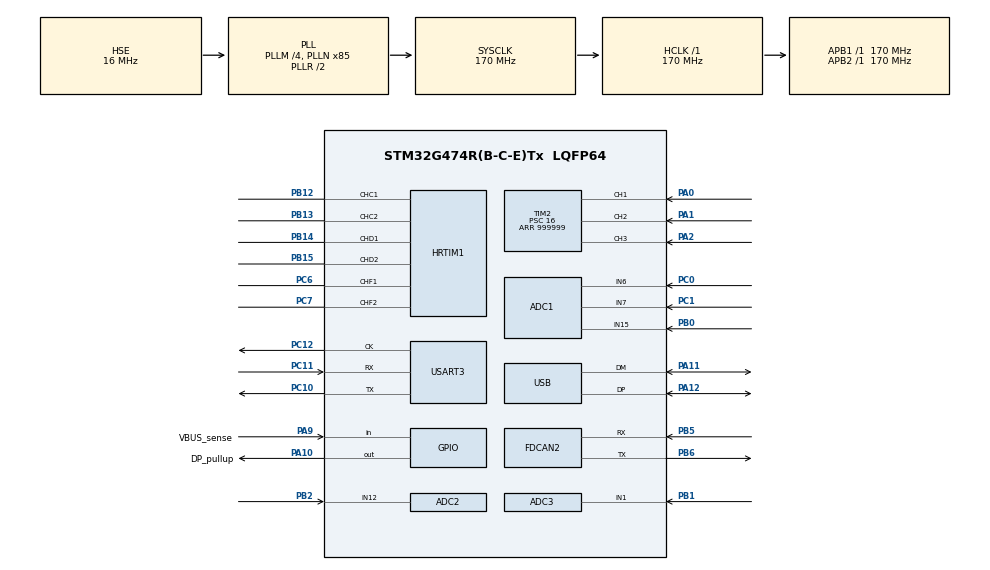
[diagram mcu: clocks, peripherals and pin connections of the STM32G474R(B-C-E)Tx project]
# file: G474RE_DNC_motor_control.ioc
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ADC1.Channel-1\#ChannelRegularConversion=ADC_CHANNEL_6
ADC1.DMAContinuousRequests=DISABLE
ADC1.EnableInjectedConversion=ENABLE
ADC1.EnableInjectedOversampling=ENABLE
ADC1.ExternalTrigConv=ADC_EXTERNALTRIG_HRTIM_TRG1
ADC1.ExternalTrigInjecConv=ADC_EXTERNALTRIGINJEC_HRTIM_TRG2
ADC1.InjNumberOfConversion=1
ADC1.InjOversamplingRatio=ADC_OVERSAMPLING_RATIO_4
ADC1.InjOversamplingRightShift=ADC_RIGHTBITSHIFT_2
ADC1.InjectedChannel-5\#ChannelInjectedConversion=ADC_CHANNEL_15
ADC1.InjectedOffsetNumber-5\#ChannelInjectedConversion=ADC_OFFSET_NONE
ADC1.InjectedRank-5\#ChannelInjectedConversion=1
ADC1.InjectedSamplingTime-5\#ChannelInjectedConversion=ADC_SAMPLETIME_6CYCLES_5
ADC1.NbrOfConversionFlag=1
ADC1.Overrun=ADC_OVR_DATA_OVERWRITTEN
ADC1.OversamplingMode=ENABLE
ADC1.Rank1_Channel=ADC_CHANNEL_15
ADC1.Ratio=ADC_OVERSAMPLING_RATIO_4
ADC1.RightBitShift=ADC_RIGHTBITSHIFT_2
ADC1.SingleDiff-1\#ChannelRegularConversion=ADC_DIFFERENTIAL_ENDED
ADC1.master=1
ADC2.EnableInjectedConversion=ENABLE
ADC2.EnableInjectedOversampling=ENABLE
ADC2.EnableRegularConversion=DISABLE
ADC2.ExternalTrigInjecConv=ADC_EXTERNALTRIGINJEC_HRTIM_TRG2
ADC2.InjNumberOfConversion=1
ADC2.InjOversamplingRatio=ADC_OVERSAMPLING_RATIO_4
ADC2.InjOversamplingRightShift=ADC_RIGHTBITSHIFT_2
ADC2.InjectedChannel-4\#ChannelInjectedConversion=ADC_CHANNEL_12
ADC2.InjectedConvMode=None
ADC2.InjectedOffsetNumber-4\#ChannelInjectedConversion=ADC_OFFSET_NONE
ADC2.InjectedRank-4\#ChannelInjectedConversion=1
ADC2.InjectedSamplingTime-4\#ChannelInjectedConversion=ADC_SAMPLETIME_6CYCLES_5
ADC2.Overrun=ADC_OVR_DATA_OVERWRITTEN
ADC2.Rank1_Channel=ADC_CHANNEL_12
ADC2.injectedQueueMode=DISABLE
ADC3.EnableInjectedConversion=ENABLE
ADC3.EnableInjectedOversampling=ENABLE
ADC3.EnableRegularConversion=DISABLE
ADC3.ExternalTrigInjecConv=ADC_EXTERNALTRIGINJEC_HRTIM_TRG2
ADC3.InjNumberOfConversion=1
ADC3.InjOversamplingRatio=ADC_OVERSAMPLING_RATIO_4
ADC3.InjOversamplingRightShift=ADC_RIGHTBITSHIFT_2
ADC3.InjectedChannel-1\#ChannelInjectedConversion=ADC_CHANNEL_1
ADC3.InjectedOffsetNumber-1\#ChannelInjectedConversion=ADC_OFFSET_NONE
ADC3.InjectedRank-1\#ChannelInjectedConversion=1
ADC3.InjectedSamplingTime-1\#ChannelInjectedConversion=ADC_SAMPLETIME_6CYCLES_5
ADC3.Overrun=ADC_OVR_DATA_OVERWRITTEN
ADC3.Rank1_Channel=ADC_CHANNEL_1
ADC3.master=1
FDCAN2.AutoRetransmission=ENABLE
FDCAN2.CalculateBaudRateNominal=499999
FDCAN2.CalculateTimeBitNominal=2000
FDCAN2.CalculateTimeQuantumNominal=117.64705882352942
FDCAN2.NominalPrescaler=20
FDCAN2.NominalTimeSeg1=13
FDCAN2.NominalTimeSeg2=3
HRTIM1.ADCTrigger1_Source1=HRTIM_ADCTRIGGEREVENT13_TIMERC_PERIOD
HRTIM1.ADCTrigger2_Source1=HRTIM_ADCTRIGGEREVENT24_TIMERC_RESET
HRTIM1.ADCTrigger_Id1=HRTIM_ADCTRIGGER_1
HRTIM1.ADCTrigger_Id2=HRTIM_ADCTRIGGER_2
HRTIM1.Adrom_TC=HRTIM_TIM_ADROM_VALLEY
HRTIM1.Adrom_TD=HRTIM_TIM_ADROM_VALLEY
HRTIM1.Adrom_TF=HRTIM_TIM_ADROM_VALLEY
HRTIM1.CaptureUnit1-Output_TC1TC2=__NULL
HRTIM1.ChopperModeconfig-Output_TF1TF2=__NULL
HRTIM1.CompareUnit1-Output_TC1TC2=HRTIM_COMPAREUNIT_1
HRTIM1.CompareUnit1-Output_TD1TD2=HRTIM_COMPAREUNIT_1
HRTIM1.CompareUnit1-Output_TF1TF2=HRTIM_COMPAREUNIT_1
HRTIM1.CompareUnit2-Output_TC1TC2=__NULL
HRTIM1.CompareUnit2-Output_TF1TF2=__NULL
HRTIM1.CompareUnit3-Output_TF1TF2=__NULL
HRTIM1.CompareValue1-Output_TC1TC2=17000
HRTIM1.CompareValue1-Output_TD1TD2=17000
HRTIM1.CompareValue1-Output_TF1TF2=17000
HRTIM1.DeadTimeInsertion-Output_TC1TC2=HRTIM_TIMDEADTIMEINSERTION_ENABLED
HRTIM1.DeadTimeInsertion-Output_TD1TD2=HRTIM_TIMDEADTIMEINSERTION_ENABLED
HRTIM1.DeadTimeInsertion-Output_TF1TF2=HRTIM_TIMDEADTIMEINSERTION_ENABLED
HRTIM1.Event_EEV1=__NULL
HRTIM1.FallingLock-Output_TF1TF2=HRTIM_TIMDEADTIME_FALLINGLOCK_WRITE
HRTIM1.FallingSignLock-Output_TC1TC2=HRTIM_TIMDEADTIME_FALLINGSIGNLOCK_READONLY
HRTIM1.FallingSignLock-Output_TD1TD2=HRTIM_TIMDEADTIME_FALLINGSIGNLOCK_READONLY
HRTIM1.FallingSignLock-Output_TF1TF2=HRTIM_TIMDEADTIME_FALLINGSIGNLOCK_READONLY
HRTIM1.FallingValue-Output_TC1TC2=500
HRTIM1.FallingValue-Output_TD1TD2=500
HRTIM1.FallingValue-Output_TF1TF2=500
HRTIM1.Fault_Line1=__NULL
HRTIM1.IdleLevel2-Output_TF1TF2=HRTIM_OUTPUTIDLELEVEL_INACTIVE
HRTIM1.NumberADCTriggerSource1=1
HRTIM1.NumberADCTriggerSource2=1
HRTIM1.NumberResetSource1-Output_TF1TF2=0
HRTIM1.NumberSetSource1-Output_TC1TC2=1
HRTIM1.NumberSetSource1-Output_TD1TD2=1
HRTIM1.NumberSetSource1-Output_TF1TF2=1
HRTIM1.ORingUpdateSource_ADCTrigger1=HRTIM_ADCTRIGGERUPDATE_TIMER_C
HRTIM1.ORingUpdateSource_ADCTrigger2=HRTIM_ADCTRIGGERUPDATE_TIMER_C
HRTIM1.Periode_TC=34000
HRTIM1.Periode_TD=34000
HRTIM1.Periode_TF=34000
HRTIM1.Polarity1-Output_TF1TF2=HRTIM_OUTPUTPOLARITY_HIGH
HRTIM1.PreloadEnable-Output_TC1TC2=HRTIM_PRELOAD_ENABLED
HRTIM1.PreloadEnable-Output_TD1TD2=HRTIM_PRELOAD_ENABLED
HRTIM1.PreloadEnable-Output_TF1TF2=HRTIM_PRELOAD_ENABLED
HRTIM1.PrescalerDead-Output_TC1TC2=HRTIM_TIMDEADTIME_PRESCALERRATIO_MUL4
HRTIM1.PrescalerDead-Output_TD1TD2=HRTIM_TIMDEADTIME_PRESCALERRATIO_MUL4
HRTIM1.PrescalerDead-Output_TF1TF2=HRTIM_TIMDEADTIME_PRESCALERRATIO_MUL4
HRTIM1.PrescalerRatio_TC=HRTIM_PRESCALERRATIO_MUL16
HRTIM1.PrescalerRatio_TD=HRTIM_PRESCALERRATIO_MUL16
HRTIM1.PrescalerRatio_TF=HRTIM_PRESCALERRATIO_MUL16
HRTIM1.ResetUpdate-Output_TC1TC2=HRTIM_TIMUPDATEONRESET_ENABLED
HRTIM1.ResetUpdate-Output_TD1TD2=HRTIM_TIMUPDATEONRESET_ENABLED
HRTIM1.ResetUpdate-Output_TF1TF2=HRTIM_TIMUPDATEONRESET_ENABLED
HRTIM1.RisingLock-Output_TF1TF2=HRTIM_TIMDEADTIME_RISINGLOCK_WRITE
HRTIM1.RisingSign-Output_TF1TF2=HRTIM_TIMDEADTIME_RISINGSIGN_POSITIVE
HRTIM1.RisingSignLock-Output_TC1TC2=HRTIM_TIMDEADTIME_RISINGSIGNLOCK_READONLY
HRTIM1.RisingSignLock-Output_TD1TD2=HRTIM_TIMDEADTIME_RISINGSIGNLOCK_READONLY
HRTIM1.RisingSignLock-Output_TF1TF2=HRTIM_TIMDEADTIME_RISINGSIGNLOCK_READONLY
HRTIM1.RisingValue-Output_TC1TC2=500
HRTIM1.RisingValue-Output_TD1TD2=500
HRTIM1.RisingValue-Output_TF1TF2=500
HRTIM1.SetOutput1_Source1-Output_TC1TC2=HRTIM_OUTPUTSET_TIMCMP1
HRTIM1.SetOutput1_Source1-Output_TD1TD2=HRTIM_OUTPUTSET_TIMCMP1
HRTIM1.SetOutput1_Source1-Output_TF1TF2=HRTIM_OUTPUTSET_TIMCMP1
HRTIM1.SwapF=__NULL
HRTIM1.UpDownMode-Output_TC1TC2=HRTIM_TIMERUPDOWNMODE_UPDOWN
HRTIM1.UpDownMode-Output_TD1TD2=HRTIM_TIMERUPDOWNMODE_UPDOWN
HRTIM1.UpDownMode-Output_TF1TF2=HRTIM_TIMERUPDOWNMODE_UPDOWN
HRTIM1.rom_TC=HRTIM_TIM_ROM_VALLEY
HRTIM1.rom_TD=HRTIM_TIM_ROM_VALLEY
HRTIM1.rom_TF=HRTIM_TIM_ROM_VALLEY
Mcu.Family=STM32G4
Mcu.Name=STM32G474R(B-C-E)Tx
Mcu.Package=LQFP64
NVIC.ADC1_2_IRQn=true\:0\:0\:false\:false\:true\:true\:true\:true
NVIC.ADC3_IRQn=true\:0\:0\:false\:false\:true\:true\:true\:true
NVIC.FDCAN2_IT0_IRQn=true\:2\:0\:true\:false\:true\:true\:true\:true
NVIC.PriorityGroup=NVIC_PRIORITYGROUP_4
NVIC.TIM2_IRQn=true\:1\:0\:true\:false\:true\:true\:true\:true
PA0.Signal=S_TIM2_CH1
PA1.Signal=S_TIM2_CH2
PA10.GPIO_Label=DP_pullup
PA10.GPIO_PuPd=GPIO_PULLDOWN
PA10.Signal=GPIO_Output
PA11.Mode=Device
PA11.Signal=USB_DM
PA12.Mode=Device
PA12.Signal=USB_DP
PA13.Mode=Trace_Asynchronous_SW
PA13.Signal=SYS_JTMS-SWDIO
PA14.Mode=Trace_Asynchronous_SW
PA14.Signal=SYS_JTCK-SWCLK
PA2.Signal=S_TIM2_CH3
PA5.Signal=S_TIM2_ETR
PA9.GPIO_Label=VBUS_sense
PA9.GPIO_PuPd=GPIO_NOPULL
PA9.Signal=GPIO_Input
PB0.Mode=IN15-Single-Ended
PB0.Signal=ADC1_IN15
PB1.Mode=IN1-Single-Ended
PB1.Signal=ADC3_IN1
PB12.Mode=Output_TC1TC2
PB12.Signal=HRTIM1_CHC1
PB13.Mode=Output_TC1TC2
PB13.Signal=HRTIM1_CHC2
PB14.Mode=Output_TD1TD2
PB14.Signal=HRTIM1_CHD1
PB15.Mode=Output_TD1TD2
PB15.Signal=HRTIM1_CHD2
PB2.Mode=IN12-Single-Ended
PB2.Signal=ADC2_IN12
PB3.Mode=Trace_Asynchronous_SW
PB3.Signal=SYS_JTDO-SWO
PB5.Mode=FDCAN_Activate
PB5.Signal=FDCAN2_RX
PB6.Mode=FDCAN_Activate
PB6.Signal=FDCAN2_TX
PC0.Mode=IN6-Differential
PC0.Signal=ADC1_IN6
PC1.Mode=IN6-Differential
PC1.Signal=ADC1_IN7
PC10.Mode=Synchronous
PC10.Signal=USART3_TX
PC11.Mode=Synchronous
PC11.Signal=USART3_RX
PC12.Mode=Synchronous
PC12.Signal=USART3_CK
PC6.Mode=Output_TF1TF2
PC6.Signal=HRTIM1_CHF1
PC7.Mode=Output_TF1TF2
PC7.Signal=HRTIM1_CHF2
PF0-OSC_IN.Mode=HSE-External-Oscillator
PF0-OSC_IN.Signal=RCC_OSC_IN
PF1-OSC_OUT.Mode=HSE-External-Oscillator
PF1-OSC_OUT.Signal=RCC_OSC_OUT
ProjectManager.HeapSize=0x200
ProjectManager.StackSize=0x400
ProjectManager.TargetToolchain=STM32CubeIDE
RCC.ADC12Freq_Value=170000000
RCC.ADC345Freq_Value=170000000
RCC.AHBFreq_Value=170000000
RCC.APB1Freq_Value=170000000
RCC.APB1TimFreq_Value=170000000
RCC.APB2Freq_Value=170000000
RCC.APB2TimFreq_Value=170000000
RCC.CK48CLockSelection=RCC_USBCLKSOURCE_HSI48
RCC.CortexFreq_Value=170000000
RCC.EXTERNAL_CLOCK_VALUE=12288000
RCC.HCLKFreq_Value=170000000
RCC.HSE_VALUE=16000000
RCC.HSI48_VALUE=48000000
RCC.HSI_VALUE=16000000
RCC.LSE_VALUE=32768
RCC.PLLM=RCC_PLLM_DIV4
RCC.PLLN=85
RCC.PLLSourceVirtual=RCC_PLLSOURCE_HSE
RCC.SYSCLKFreq_VALUE=170000000
RCC.SYSCLKSource=RCC_SYSCLKSOURCE_PLLCLK
RCC.USBFreq_Value=48000000
RCC.VCOOutputFreq_Value=340000000
SH.S_TIM2_CH1.0=TIM2_CH1,Xored_Inputs_Hall_Sensor_Interface
SH.S_TIM2_CH2.0=TIM2_CH2,Xored_Inputs_Hall_Sensor_Interface
SH.S_TIM2_CH3.0=TIM2_CH3,Xored_Inputs_Hall_Sensor_Interface
SH.S_TIM2_ETR.0=TIM2_ETR
TIM2.Dithering=Disable
TIM2.IC1Filter=3
TIM2.IC1Prescaler=TIM_ICPSC_DIV1
TIM2.PeriodNoDither=999999
TIM2.Prescaler=16
USART3.VirtualMode-Synchronous=VM_SYNC
VP_CORDIC_VS_CORDIC.Mode=CORDIC_Activate
VP_SYS_VS_DBSignals.Mode=DisableDeadBatterySignals
board=custom

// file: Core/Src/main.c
/* USER CODE BEGIN Header */
/**
  ******************************************************************************
  * @file           : main.c
  * @brief          : Main program body
  ******************************************************************************
  * @attention
  *
  * Copyright (c) 2026 STMicroelectronics.
  * All rights reserved.
  *
  * This software is licensed under terms that can be found in the LICENSE file
  * in the root directory of this software component.
  * If no LICENSE file comes with this software, it is provided AS-IS.
  *
  ******************************************************************************
  */
/* USER CODE END Header */
#include "main.h"

/* USER CODE BEGIN Includes */
#include "adc_driver.h"
#include "app.h"
#include "canopen_service.h"
#include "cycle_counter_driver.h"
#include "cordic_driver.h"
#include "current_sensor.h"
#include "drive_debug_command_source.h"
#include "drive_debug_observer.h"
#include "drive_command.h"
#include "drive_parameter_manager.h"
#include "drive_parameters.h"
#include "fault_manager.h"
#include "fdcan_driver.h"
#include "hall_decoder.h"
#include "hall_driver.h"
#include "hall_estimator.h"
#include "motor_config.h"
#include "motor_control.h"
#include "sensorless_config.h"
#include "pwm_driver.h"
#include "voltage_sensor.h"
/* USER CODE END Includes */

/* USER CODE BEGIN PD */

#define APP_FAST_LOOP_FREQUENCY_HZ  40000U
#define APP_FAST_LOOP_DEADLINE_CYCLES  (4250U)
#define APP_PHASE_CURRENT_TRIP_ABS_A  (8.0f)
#define APP_PHASE_CURRENT_CLEAR_ABS_A (1.0f)
#define APP_DC_LINK_OVERVOLTAGE_TRIP_V  (58.0f)
#define APP_DC_LINK_OVERVOLTAGE_CLEAR_V (54.0f)
#define CURRENT_SENSOR_OFFSET_SETTLING_SAMPLE_COUNT  128U
#define CURRENT_SENSOR_OFFSET_AVERAGING_SAMPLE_COUNT 2048U
#define CURRENT_SENSOR_OFFSET_TIMEOUT_MARGIN_MS      50U
#define CURRENT_SENSOR_OFFSET_REQUIRED_SAMPLE_COUNT \
    (CURRENT_SENSOR_OFFSET_SETTLING_SAMPLE_COUNT + \
     CURRENT_SENSOR_OFFSET_AVERAGING_SAMPLE_COUNT)
#define CURRENT_SENSOR_OFFSET_EXPECTED_DURATION_MS \
    (((CURRENT_SENSOR_OFFSET_REQUIRED_SAMPLE_COUNT * 1000U) + \
      APP_FAST_LOOP_FREQUENCY_HZ - 1U) / APP_FAST_LOOP_FREQUENCY_HZ)
#define CURRENT_SENSOR_OFFSET_TIMEOUT_MS \
    (CURRENT_SENSOR_OFFSET_EXPECTED_DURATION_MS + \
     CURRENT_SENSOR_OFFSET_TIMEOUT_MARGIN_MS)
#define ACS725_10AB_GAIN_A_PER_COUNT  ((3.3f / 4096.0f) / 0.132f)
#define APP_SPEED_STOP_OMEGA_M_THRESHOLD_RAD_S       (52.3598785f)
#define APP_SPEED_STOP_DWELL_MS                       (10U)

/* USER CODE END PD */

ADC_HandleTypeDef hadc1;
ADC_HandleTypeDef hadc2;
ADC_HandleTypeDef hadc3;

FDCAN_HandleTypeDef hfdcan2;

HRTIM_HandleTypeDef hhrtim1;

TIM_HandleTypeDef htim2;

USART_HandleTypeDef husart3;

PCD_HandleTypeDef hpcd_USB_FS;

/* USER CODE BEGIN PV */
static pwm_driver_t pwm_driver;
static adc_driver_t adc_driver;
static current_sensor_t current_sensor;
static voltage_sensor_t voltage_sensor;
static hall_driver_t hall_driver;
static hall_decoder_t hall_decoder;
static hall_estimator_t hall_estimator;
static eemf_observer_t sensorless_observer;
static pll_t sensorless_pll;
static motor_control_t motor_control;
static fault_manager_t fault_manager;
static fdcan_driver_t fdcan_driver;
static app_t app;
static canopen_service_t canopen_service;
static drive_command_router_t canopen_drive_command_router;
static drive_parameter_manager_t drive_parameter_manager;
static motor_control_config_t motor_control_config;
static float fast_loop_sampling_period_s;

#if APP_FAST_LOOP_DETAILED_PROFILING_ENABLED
static app_fast_loop_profile_t app_fast_loop_profile;
#endif

#if defined(DEBUG)
volatile uint32_t adc_irq_total_cycles;
volatile uint32_t adc_irq_total_cycles_max;
volatile uint32_t adc_irq_deadline_miss_count;
static uint32_t adc_irq_start_cycles;
#endif

static uint32_t canopen_service_last_tick_ms;

/* ADC3 IRQ에서 완성한 세 ADC 묶음을 한 번만 fast loop에 전달한다. */
static bool adc_fast_loop_pending;

/* USER CODE END PV */

void SystemClock_Config(void);
static void MX_GPIO_Init(void);
static void MX_ADC1_Init(void);
static void MX_ADC2_Init(void);
static void MX_ADC3_Init(void);
static void MX_FDCAN2_Init(void);
static void MX_HRTIM1_Init(void);
static void MX_TIM2_Init(void);
static void MX_USART3_Init(void);
static void MX_USB_PCD_Init(void);
static void MX_CORDIC_Init(void);

/* USER CODE BEGIN 0 */
static bool main_apply_drive_parameters(
    void *context,
    const drive_parameters_t *parameters
)
{
  motor_control_config_t next_config;

  (void)context;
  if (!drive_parameters_build_motor_control_config(
          parameters,
          fast_loop_sampling_period_s,
          0.001f,
          &next_config)) {
      return false;
  }

  /* READY/PWM-off main context에서만 호출된다. ADC ISR과 instance write가 겹치지 않게 한다. */
  const motor_control_status_t status = motor_control_init(
      &motor_control,
      &next_config
  );
  if (status != MOTOR_CONTROL_STATUS_OK) {
      return false;
  }

  motor_control_config = next_config;
  if (canopen_service.is_initialized) {
      canopen_service.motor_profile.pole_pairs = parameters->pole_pairs;
      canopen_service.motor_profile.permanent_magnet_flux_linkage_wb =
          parameters->permanent_magnet_flux_linkage_wb;
      canopen_service.motor_profile.torque_reference_current_peak_a =
          parameters->canopen_torque_reference_current_peak_a;
      canopen_service.motor_profile.maximum_mechanical_speed_rad_s =
          parameters->speed_reference_max_rad_s;
  }
  return true;
}
static bool main_drive_parameter_update_is_pending(void)
{
    return (drive_parameter_debug.apply_request !=
            drive_parameter_manager.handled_apply_request) ||
           (drive_parameter_debug.save_request !=
            drive_parameter_manager.handled_save_request) ||
           (drive_parameter_debug.erase_request !=
            drive_parameter_manager.handled_erase_request);
}

static bool main_stop_sampling_for_drive_parameter_update(void)
{
    if (pwm_driver_stop_counter(&pwm_driver) != PWM_DRIVER_STATUS_OK) {
        return false;
    }

    /* Counter 정지 뒤에는 새 ADC trigger가 발생하지 않는다. */
    adc_fast_loop_pending = false;
    return adc_driver_stop(&adc_driver) == ADC_DRIVER_STATUS_OK;
}

static bool main_restart_sampling_after_drive_parameter_update(void)
{
    if (adc_driver_start(&adc_driver) != ADC_DRIVER_STATUS_OK) {
        return false;
    }

    return pwm_driver_start_counter(&pwm_driver) == PWM_DRIVER_STATUS_OK;
}

static void main_process_drive_parameters(void)
{
    const bool is_safe_state = (app.drive_state == APP_DRIVE_STATE_READY) &&
                               !pwm_driver.is_enabled;
    const bool needs_maintenance_window = is_safe_state &&
        main_drive_parameter_update_is_pending();

    if (!needs_maintenance_window) {
        drive_parameter_manager_process(
            &drive_parameter_manager,
            is_safe_state,
            main_apply_drive_parameters,
            NULL
        );
        return;
    }

    if (!main_stop_sampling_for_drive_parameter_update()) {
        Error_Handler();
        return;
    }

    drive_parameter_manager_process(
        &drive_parameter_manager,
        true,
        main_apply_drive_parameters,
        NULL
    );

    if (!main_restart_sampling_after_drive_parameter_update()) {
        Error_Handler();
        return;
    }
}
/* USER CODE END 0 */

int main(void)
{

  /* MCU Configuration--------------------------------------------------------*/

  /* Reset of all peripherals, Initializes the Flash interface and the Systick. */
  HAL_Init();

  /* Configure the system clock */
  SystemClock_Config();

  /* Initialize all configured peripherals */
  MX_GPIO_Init();
  MX_ADC1_Init();
  MX_ADC2_Init();
  MX_ADC3_Init();
  MX_FDCAN2_Init();
  MX_HRTIM1_Init();
  MX_TIM2_Init();
  MX_USART3_Init();
  MX_USB_PCD_Init();
  MX_CORDIC_Init();
  /* USER CODE BEGIN 2 */
  if (cordic_driver_init() != CORDIC_DRIVER_STATUS_OK) {
      Error_Handler();
  }

#if defined(DEBUG)
  if (!cycle_counter_driver_init()) {
      Error_Handler();
  }
#endif

  const fdcan_driver_config_t fdcan_config = {
      .hfdcan = &hfdcan2,
      .receive_callback = NULL,
      .receive_context = NULL,
  };
  if (fdcan_driver_init(&fdcan_driver, &fdcan_config) !=
      FDCAN_DRIVER_STATUS_OK) {
      Error_Handler();
  }
  if (fdcan_driver_start(&fdcan_driver) != FDCAN_DRIVER_STATUS_OK) {
      Error_Handler();
  }

  const hall_driver_config_t hall_config = {
      .timer = &htim2,

      /* Hall state bit 순서: A/B/C = bit 2/1/0 */
      .hall_a = {
          .port = GPIOA,
          .pin = GPIO_PIN_0,
      },
      .hall_b = {
          .port = GPIOA,
          .pin = GPIO_PIN_1,
      },
      .hall_c = {
          .port = GPIOA,
          .pin = GPIO_PIN_2,
      },

      /* 현재 CubeMX 설정의 APB1 timer kernel clock [Hz] */
      .timer_clock_hz = 170000000U,
  };

  if (hall_driver_init(&hall_driver, &hall_config) != HALL_DRIVER_STATUS_OK) {
      Error_Handler();
  }

  if (hall_decoder_init(
      &hall_decoder,
      &motor_config_hall_profile
  ) != HALL_DECODER_STATUS_OK) {
      Error_Handler();
  }

  if (hall_driver_start(&hall_driver) != HALL_DRIVER_STATUS_OK) {
      Error_Handler();
  }

  if (hall_estimator_init(&hall_estimator) != HALL_ESTIMATOR_STATUS_OK) {
      Error_Handler();
  }

  /* EEMF rollout 3단계: shadow observer/PLL. Hall이 계속 FOC angle의 유일한 owner이며 이 결과는
   * motor-control 입력에 연결하지 않는다 — 진단/비교(drive_debug_snapshot) 전용. */
  if (eemf_observer_init(
      &sensorless_observer,
      &sensorless_config_eemf_observer
  ) != EEMF_OBSERVER_STATUS_OK) {
      Error_Handler();
  }

  if (pll_init(&sensorless_pll, &sensorless_config_pll) != PLL_STATUS_OK) {
      Error_Handler();
  }

  fast_loop_sampling_period_s =
      1.0f / (float)APP_FAST_LOOP_FREQUENCY_HZ;
  drive_parameters_t default_drive_parameters;
  drive_parameters_get_defaults(&default_drive_parameters);
  drive_parameter_manager_init(
      &drive_parameter_manager,
      &default_drive_parameters
  );
  if (!drive_parameters_build_motor_control_config(
          (const drive_parameters_t *)&drive_parameter_debug.active_set,
          fast_loop_sampling_period_s,
          0.001f,
          &motor_control_config)) {
      Error_Handler();
  }

  if (motor_control_init(
      &motor_control,
      &motor_control_config
  ) != MOTOR_CONTROL_STATUS_OK) {
      Error_Handler();
  }

  /* PWM counter가 trigger를 발생시키기 전에 모든 ADC의 보정과 시작을 완료한다. */
  const adc_driver_config_t adc_config = {
      .phase_a = {
          .adc = &hadc2,
          .channel = ADC_CHANNEL_12,
          .injected_rank = ADC_INJECTED_RANK_1,
      },
      .phase_b = {
          .adc = &hadc3,
          .channel = ADC_CHANNEL_1,
          .injected_rank = ADC_INJECTED_RANK_1,
      },
      .phase_c = {
          .adc = &hadc1,
          .channel = ADC_CHANNEL_15,
          .injected_rank = ADC_INJECTED_RANK_1,
      },
      .injected_completion_adc = &hadc3,
      .dc_link = {
          .adc = &hadc1,
          .channel = ADC_CHANNEL_6,
      },
  };

  if (adc_driver_init(&adc_driver, &adc_config) != ADC_DRIVER_STATUS_OK) {
      Error_Handler();
  }

  if (adc_driver_start(&adc_driver) != ADC_DRIVER_STATUS_OK) {
      Error_Handler();
  }

  const current_sensor_config_t current_sensor_config = {
      /* ACS725LLCTR-10AB-T typ. 132 mV/A와 nominal ADC Vref 3.3 V 기준. */
      .gain_a_per_count = {
          .a = ACS725_10AB_GAIN_A_PER_COUNT,
          .b = ACS725_10AB_GAIN_A_PER_COUNT,
          .c = ACS725_10AB_GAIN_A_PER_COUNT,
      },
      .settling_sample_count =
          CURRENT_SENSOR_OFFSET_SETTLING_SAMPLE_COUNT,
      .averaging_sample_count =
          CURRENT_SENSOR_OFFSET_AVERAGING_SAMPLE_COUNT,

      /* Bring-up 중 rail/단선 수준의 비정상만 거르는 넓은 허용 범위. */
      .minimum_offset_counts = 1536.0f,
      .maximum_offset_counts = 2560.0f,
  };

  if (current_sensor_init(
      &current_sensor,
      &current_sensor_config
  ) != CURRENT_SENSOR_STATUS_OK) {
      Error_Handler();
  }

  const voltage_sensor_config_t voltage_sensor_config = {
      .offset_counts = 2048.0f,
      .gain_v_per_count = 0.06448461162677f,
  };

  if (voltage_sensor_init(
      &voltage_sensor,
      &voltage_sensor_config
  ) != VOLTAGE_SENSOR_STATUS_OK) {
      Error_Handler();
  }

  const fault_manager_config_t fault_config = {
      .phase_current_trip_abs_a = APP_PHASE_CURRENT_TRIP_ABS_A,
      .phase_current_clear_abs_a = APP_PHASE_CURRENT_CLEAR_ABS_A,
      .dc_link_overvoltage_trip_v = APP_DC_LINK_OVERVOLTAGE_TRIP_V,
      .dc_link_overvoltage_clear_v = APP_DC_LINK_OVERVOLTAGE_CLEAR_V,
  };

  if (fault_manager_init(
      &fault_manager,
      &fault_config
  ) != FAULT_MANAGER_STATUS_OK) {
      Error_Handler();
  }

  /* PWM counter가 시작되기 전에 App의 ADC/PWM 연결과 안전한 0 V command를 준비한다. */
  const app_config_t app_config = {
      .adc_driver = &adc_driver,
      .current_sensor = &current_sensor,
      .voltage_sensor = &voltage_sensor,
      .pwm_driver = &pwm_driver,
      .fault_manager = &fault_manager,
      .hall_driver = &hall_driver,
      .hall_decoder = &hall_decoder,
      .hall_estimator = &hall_estimator,
      .sensorless_observer = &sensorless_observer,
      .sensorless_pll = &sensorless_pll,
      .motor_control = &motor_control,
#if APP_FAST_LOOP_DETAILED_PROFILING_ENABLED
      .fast_loop_profile = &app_fast_loop_profile,
#else
      .fast_loop_profile = NULL,
#endif
      .motor_control_profile = NULL,
#if defined(DEBUG)
      .cycle_counter_reader = cycle_counter_driver_read,
#else
      .cycle_counter_reader = NULL,
#endif
      .sampling_period_s = fast_loop_sampling_period_s,
      .speed_loop_period_s = 0.001f,
      .current_offset_calibration_timeout_ms =
          CURRENT_SENSOR_OFFSET_TIMEOUT_MS,
      .speed_stop_omega_m_threshold_rad_s =
          APP_SPEED_STOP_OMEGA_M_THRESHOLD_RAD_S,
      .speed_stop_dwell_ms = APP_SPEED_STOP_DWELL_MS,
      .initial_voltage_angle_rad = 0.0f,
  };

  if (app_init(&app, &app_config) != APP_STATUS_OK) {
      Error_Handler();
  }

#if APP_FAST_LOOP_DEBUG_SNAPSHOT_ENABLED
  if (!drive_debug_observer_init(APP_FAST_LOOP_FREQUENCY_HZ, 1000U)) {
      Error_Handler();
  }
#endif

  drive_debug_command_source_init();

  /* PWM output은 끈 채 ADC fast loop가 무전류 offset을 수집하게 한다. */
  if (app_drive_start(&app) != APP_STATUS_OK) {
      Error_Handler();
  }

  /* PWM 초기화 */
  const pwm_driver_config_t pwm_config = {
        .hrtim = &hhrtim1,

        .phase_a = {
            .timer_index = HRTIM_TIMERINDEX_TIMER_F,
            .compare_unit = HRTIM_COMPAREUNIT_1,
        },
        .phase_b = {
            .timer_index = HRTIM_TIMERINDEX_TIMER_D,
            .compare_unit = HRTIM_COMPAREUNIT_1,
        },
        .phase_c = {
            .timer_index = HRTIM_TIMERINDEX_TIMER_C,
            .compare_unit = HRTIM_COMPAREUNIT_1,
        },
  };
  if (pwm_driver_init(&pwm_driver, &pwm_config) != PWM_DRIVER_STATUS_OK) {
        Error_Handler();
    }

  drive_command_router_init(&canopen_drive_command_router);
  const canopen_service_motor_profile_t canopen_motor_profile = {
      .pole_pairs = motor_control_config.pole_pairs,
      .permanent_magnet_flux_linkage_wb =
          motor_control_config.foc.permanent_magnet_flux_linkage_wb,
      .torque_reference_current_peak_a =
          drive_parameter_debug.active_set.canopen_torque_reference_current_peak_a,
      .maximum_mechanical_speed_rad_s =
          motor_control_config.speed_reference_max_rad_s,
  };
  const canopen_service_config_t canopen_config = {
      .fdcan_driver = &fdcan_driver,
      .app = &app,
      .drive_command_router = &canopen_drive_command_router,
      .fault_manager = &fault_manager,
      .node_id = 1U,
      .bit_rate_kbit_s = 500U,
  };
  if (canopen_service_init(
      &canopen_service,
      &canopen_config,
      &canopen_motor_profile
  ) != CANOPEN_SERVICE_STATUS_OK) {
      Error_Handler();
  }
  canopen_service_last_tick_ms = HAL_GetTick();

    /* calibration 완료와 PWM enable/disable은 이후 main-context 상태기계가 처리한다. */

  /* USER CODE END 2 */

  /* Infinite loop */
  /* USER CODE BEGIN WHILE */
  while (1)
  {
      (void)app_drive_update(&app);

      main_process_drive_parameters();

      drive_debug_command_source_update(&app);

      const uint32_t canopen_tick_ms = HAL_GetTick();
      const uint32_t canopen_elapsed_ms =
          canopen_tick_ms - canopen_service_last_tick_ms;
      if (canopen_elapsed_ms != 0U) {
          app_speed_feedback_t speed_feedback = {0};

          canopen_service_last_tick_ms = canopen_tick_ms;
          (void)app_get_speed_feedback_snapshot(&app, &speed_feedback);
          (void)canopen_service_process(
              &canopen_service,
              canopen_elapsed_ms * 1000U,
              0.0f,
              false,
              speed_feedback.omega_e_rad_s,
              speed_feedback.has_valid_speed
          );
      }

      HAL_Delay(1U);
    /* USER CODE END WHILE */

  }
}

void SystemClock_Config(void)
{
  RCC_OscInitTypeDef RCC_OscInitStruct = {0};
  RCC_ClkInitTypeDef RCC_ClkInitStruct = {0};

  /** Configure the main internal regulator output voltage
  */
  HAL_PWREx_ControlVoltageScaling(PWR_REGULATOR_VOLTAGE_SCALE1_BOOST);

  /** Initializes the RCC Oscillators according to the specified parameters
  * in the RCC_OscInitTypeDef structure.
  */
  RCC_OscInitStruct.OscillatorType = RCC_OSCILLATORTYPE_HSI48|RCC_OSCILLATORTYPE_HSE;
  RCC_OscInitStruct.HSEState = RCC_HSE_ON;
  RCC_OscInitStruct.HSI48State = RCC_HSI48_ON;
  RCC_OscInitStruct.PLL.PLLState = RCC_PLL_ON;
  RCC_OscInitStruct.PLL.PLLSource = RCC_PLLSOURCE_HSE;
  RCC_OscInitStruct.PLL.PLLM = RCC_PLLM_DIV4;
  RCC_OscInitStruct.PLL.PLLN = 85;
  RCC_OscInitStruct.PLL.PLLP = RCC_PLLP_DIV2;
  RCC_OscInitStruct.PLL.PLLQ = RCC_PLLQ_DIV2;
  RCC_OscInitStruct.PLL.PLLR = RCC_PLLR_DIV2;
  if (HAL_RCC_OscConfig(&RCC_OscInitStruct) != HAL_OK)
  {
    Error_Handler();
  }

  /** Initializes the CPU, AHB and APB buses clocks
  */
  RCC_ClkInitStruct.ClockType = RCC_CLOCKTYPE_HCLK|RCC_CLOCKTYPE_SYSCLK
                              |RCC_CLOCKTYPE_PCLK1|RCC_CLOCKTYPE_PCLK2;
  RCC_ClkInitStruct.SYSCLKSource = RCC_SYSCLKSOURCE_PLLCLK;
  RCC_ClkInitStruct.AHBCLKDivider = RCC_SYSCLK_DIV1;
  RCC_ClkInitStruct.APB1CLKDivider = RCC_HCLK_DIV1;
  RCC_ClkInitStruct.APB2CLKDivider = RCC_HCLK_DIV1;

  if (HAL_RCC_ClockConfig(&RCC_ClkInitStruct, FLASH_LATENCY_4) != HAL_OK)
  {
    Error_Handler();
  }
}

static void MX_ADC1_Init(void)
{

  ADC_MultiModeTypeDef multimode = {0};
  ADC_ChannelConfTypeDef sConfig = {0};
  ADC_InjectionConfTypeDef sConfigInjected = {0};

  /** Common config
  */
  hadc1.Instance = ADC1;
  hadc1.Init.ClockPrescaler = ADC_CLOCK_SYNC_PCLK_DIV4;
  hadc1.Init.Resolution = ADC_RESOLUTION_12B;
  hadc1.Init.DataAlign = ADC_DATAALIGN_RIGHT;
  hadc1.Init.GainCompensation = 0;
  hadc1.Init.ScanConvMode = ADC_SCAN_DISABLE;
  hadc1.Init.EOCSelection = ADC_EOC_SINGLE_CONV;
  hadc1.Init.LowPowerAutoWait = DISABLE;
  hadc1.Init.ContinuousConvMode = DISABLE;
  hadc1.Init.NbrOfConversion = 1;
  hadc1.Init.DiscontinuousConvMode = DISABLE;
  hadc1.Init.ExternalTrigConv = ADC_EXTERNALTRIG_HRTIM_TRG1;
  hadc1.Init.ExternalTrigConvEdge = ADC_EXTERNALTRIGCONVEDGE_RISING;
  hadc1.Init.DMAContinuousRequests = DISABLE;
  hadc1.Init.Overrun = ADC_OVR_DATA_OVERWRITTEN;
  hadc1.Init.OversamplingMode = ENABLE;
  hadc1.Init.Oversampling.Ratio = ADC_OVERSAMPLING_RATIO_4;
  hadc1.Init.Oversampling.RightBitShift = ADC_RIGHTBITSHIFT_2;
  hadc1.Init.Oversampling.TriggeredMode = ADC_TRIGGEREDMODE_SINGLE_TRIGGER;
  hadc1.Init.Oversampling.OversamplingStopReset = ADC_REGOVERSAMPLING_RESUMED_MODE;
  if (HAL_ADC_Init(&hadc1) != HAL_OK)
  {
    Error_Handler();
  }

  /** Configure the ADC multi-mode
  */
  multimode.Mode = ADC_MODE_INDEPENDENT;
  if (HAL_ADCEx_MultiModeConfigChannel(&hadc1, &multimode) != HAL_OK)
  {
    Error_Handler();
  }

  /** Configure Regular Channel
  */
  sConfig.Channel = ADC_CHANNEL_6;
  sConfig.Rank = ADC_REGULAR_RANK_1;
  sConfig.SamplingTime = ADC_SAMPLETIME_2CYCLES_5;
  sConfig.SingleDiff = ADC_DIFFERENTIAL_ENDED;
  sConfig.OffsetNumber = ADC_OFFSET_NONE;
  sConfig.Offset = 0;
  if (HAL_ADC_ConfigChannel(&hadc1, &sConfig) != HAL_OK)
  {
    Error_Handler();
  }

  /** Configure Injected Channel
  */
  sConfigInjected.InjectedChannel = ADC_CHANNEL_15;
  sConfigInjected.InjectedRank = ADC_INJECTED_RANK_1;
  sConfigInjected.InjectedSamplingTime = ADC_SAMPLETIME_6CYCLES_5;
  sConfigInjected.InjectedSingleDiff = ADC_SINGLE_ENDED;
  sConfigInjected.InjectedOffsetNumber = ADC_OFFSET_NONE;
  sConfigInjected.InjectedOffset = 0;
  sConfigInjected.InjectedNbrOfConversion = 1;
  sConfigInjected.InjectedDiscontinuousConvMode = DISABLE;
  sConfigInjected.AutoInjectedConv = DISABLE;
  sConfigInjected.QueueInjectedContext = DISABLE;
  sConfigInjected.ExternalTrigInjecConv = ADC_EXTERNALTRIGINJEC_HRTIM_TRG2;
  sConfigInjected.ExternalTrigInjecConvEdge = ADC_EXTERNALTRIGINJECCONV_EDGE_RISING;
  sConfigInjected.InjecOversamplingMode = ENABLE;
  sConfigInjected.InjecOversampling.Ratio = ADC_OVERSAMPLING_RATIO_4;
  sConfigInjected.InjecOversampling.RightBitShift = ADC_RIGHTBITSHIFT_2;
  if (HAL_ADCEx_InjectedConfigChannel(&hadc1, &sConfigInjected) != HAL_OK)
  {
    Error_Handler();
  }

}

static void MX_ADC2_Init(void)
{

  ADC_InjectionConfTypeDef sConfigInjected = {0};

  /** Common config
  */
  hadc2.Instance = ADC2;
  hadc2.Init.ClockPrescaler = ADC_CLOCK_SYNC_PCLK_DIV4;
  hadc2.Init.Resolution = ADC_RESOLUTION_12B;
  hadc2.Init.DataAlign = ADC_DATAALIGN_RIGHT;
  hadc2.Init.GainCompensation = 0;
  hadc2.Init.ScanConvMode = ADC_SCAN_DISABLE;
  hadc2.Init.EOCSelection = ADC_EOC_SINGLE_CONV;
  hadc2.Init.LowPowerAutoWait = DISABLE;
  hadc2.Init.ContinuousConvMode = DISABLE;
  hadc2.Init.NbrOfConversion = 1;
  hadc2.Init.DiscontinuousConvMode = DISABLE;
  hadc2.Init.DMAContinuousRequests = DISABLE;
  hadc2.Init.Overrun = ADC_OVR_DATA_OVERWRITTEN;
  hadc2.Init.OversamplingMode = DISABLE;
  if (HAL_ADC_Init(&hadc2) != HAL_OK)
  {
    Error_Handler();
  }

  /** Configure Injected Channel
  */
  sConfigInjected.InjectedChannel = ADC_CHANNEL_12;
  sConfigInjected.InjectedRank = ADC_INJECTED_RANK_1;
  sConfigInjected.InjectedSamplingTime = ADC_SAMPLETIME_6CYCLES_5;
  sConfigInjected.InjectedSingleDiff = ADC_SINGLE_ENDED;
  sConfigInjected.InjectedOffsetNumber = ADC_OFFSET_NONE;
  sConfigInjected.InjectedOffset = 0;
  sConfigInjected.InjectedNbrOfConversion = 1;
  sConfigInjected.InjectedDiscontinuousConvMode = DISABLE;
  sConfigInjected.AutoInjectedConv = DISABLE;
  sConfigInjected.QueueInjectedContext = DISABLE;
  sConfigInjected.ExternalTrigInjecConv = ADC_EXTERNALTRIGINJEC_HRTIM_TRG2;
  sConfigInjected.ExternalTrigInjecConvEdge = ADC_EXTERNALTRIGINJECCONV_EDGE_RISING;
  sConfigInjected.InjecOversamplingMode = ENABLE;
  sConfigInjected.InjecOversampling.Ratio = ADC_OVERSAMPLING_RATIO_4;
  sConfigInjected.InjecOversampling.RightBitShift = ADC_RIGHTBITSHIFT_2;
  if (HAL_ADCEx_InjectedConfigChannel(&hadc2, &sConfigInjected) != HAL_OK)
  {
    Error_Handler();
  }

}

static void MX_ADC3_Init(void)
{

  ADC_MultiModeTypeDef multimode = {0};
  ADC_InjectionConfTypeDef sConfigInjected = {0};

  /** Common config
  */
  hadc3.Instance = ADC3;
  hadc3.Init.ClockPrescaler = ADC_CLOCK_SYNC_PCLK_DIV4;
  hadc3.Init.Resolution = ADC_RESOLUTION_12B;
  hadc3.Init.DataAlign = ADC_DATAALIGN_RIGHT;
  hadc3.Init.GainCompensation = 0;
  hadc3.Init.ScanConvMode = ADC_SCAN_DISABLE;
  hadc3.Init.EOCSelection = ADC_EOC_SINGLE_CONV;
  hadc3.Init.LowPowerAutoWait = DISABLE;
  hadc3.Init.ContinuousConvMode = DISABLE;
  hadc3.Init.NbrOfConversion = 1;
  hadc3.Init.DiscontinuousConvMode = DISABLE;
  hadc3.Init.DMAContinuousRequests = DISABLE;
  hadc3.Init.Overrun = ADC_OVR_DATA_OVERWRITTEN;
  hadc3.Init.OversamplingMode = DISABLE;
  if (HAL_ADC_Init(&hadc3) != HAL_OK)
  {
    Error_Handler();
  }

  /** Configure the ADC multi-mode
  */
  multimode.Mode = ADC_MODE_INDEPENDENT;
  if (HAL_ADCEx_MultiModeConfigChannel(&hadc3, &multimode) != HAL_OK)
  {
    Error_Handler();
  }

  /** Configure Injected Channel
  */
  sConfigInjected.InjectedChannel = ADC_CHANNEL_1;
  sConfigInjected.InjectedRank = ADC_INJECTED_RANK_1;
  sConfigInjected.InjectedSamplingTime = ADC_SAMPLETIME_6CYCLES_5;
  sConfigInjected.InjectedSingleDiff = ADC_SINGLE_ENDED;
  sConfigInjected.InjectedOffsetNumber = ADC_OFFSET_NONE;
  sConfigInjected.InjectedOffset = 0;
  sConfigInjected.InjectedNbrOfConversion = 1;
  sConfigInjected.InjectedDiscontinuousConvMode = DISABLE;
  sConfigInjected.AutoInjectedConv = DISABLE;
  sConfigInjected.QueueInjectedContext = DISABLE;
  sConfigInjected.ExternalTrigInjecConv = ADC_EXTERNALTRIGINJEC_HRTIM_TRG2;
  sConfigInjected.ExternalTrigInjecConvEdge = ADC_EXTERNALTRIGINJECCONV_EDGE_RISING;
  sConfigInjected.InjecOversamplingMode = ENABLE;
  sConfigInjected.InjecOversampling.Ratio = ADC_OVERSAMPLING_RATIO_4;
  sConfigInjected.InjecOversampling.RightBitShift = ADC_RIGHTBITSHIFT_2;
  if (HAL_ADCEx_InjectedConfigChannel(&hadc3, &sConfigInjected) != HAL_OK)
  {
    Error_Handler();
  }

}

static void MX_CORDIC_Init(void)
{

  /* Peripheral clock enable */
  LL_AHB1_GRP1_EnableClock(LL_AHB1_GRP1_PERIPH_CORDIC);

  /* nothing else to be configured */

}

static void MX_FDCAN2_Init(void)
{

  hfdcan2.Instance = FDCAN2;
  hfdcan2.Init.ClockDivider = FDCAN_CLOCK_DIV1;
  hfdcan2.Init.FrameFormat = FDCAN_FRAME_CLASSIC;
  hfdcan2.Init.Mode = FDCAN_MODE_NORMAL;
  hfdcan2.Init.AutoRetransmission = ENABLE;
  hfdcan2.Init.TransmitPause = DISABLE;
  hfdcan2.Init.ProtocolException = DISABLE;
  hfdcan2.Init.NominalPrescaler = 20;
  hfdcan2.Init.NominalSyncJumpWidth = 1;
  hfdcan2.Init.NominalTimeSeg1 = 13;
  hfdcan2.Init.NominalTimeSeg2 = 3;
  hfdcan2.Init.DataPrescaler = 1;
  hfdcan2.Init.DataSyncJumpWidth = 1;
  hfdcan2.Init.DataTimeSeg1 = 1;
  hfdcan2.Init.DataTimeSeg2 = 1;
  hfdcan2.Init.StdFiltersNbr = 0;
  hfdcan2.Init.ExtFiltersNbr = 0;
  hfdcan2.Init.TxFifoQueueMode = FDCAN_TX_FIFO_OPERATION;
  if (HAL_FDCAN_Init(&hfdcan2) != HAL_OK)
  {
    Error_Handler();
  }

}

static void MX_HRTIM1_Init(void)
{

  HRTIM_ADCTriggerCfgTypeDef pADCTriggerCfg = {0};
  HRTIM_TimeBaseCfgTypeDef pTimeBaseCfg = {0};
  HRTIM_TimerCtlTypeDef pTimerCtl = {0};
  HRTIM_TimerCfgTypeDef pTimerCfg = {0};
  HRTIM_CompareCfgTypeDef pCompareCfg = {0};
  HRTIM_DeadTimeCfgTypeDef pDeadTimeCfg = {0};
  HRTIM_OutputCfgTypeDef pOutputCfg = {0};

  hhrtim1.Instance = HRTIM1;
  hhrtim1.Init.HRTIMInterruptResquests = HRTIM_IT_NONE;
  hhrtim1.Init.SyncOptions = HRTIM_SYNCOPTION_NONE;
  if (HAL_HRTIM_Init(&hhrtim1) != HAL_OK)
  {
    Error_Handler();
  }
  if (HAL_HRTIM_DLLCalibrationStart(&hhrtim1, HRTIM_CALIBRATIONRATE_3) != HAL_OK)
  {
    Error_Handler();
  }
  if (HAL_HRTIM_PollForDLLCalibration(&hhrtim1, 10) != HAL_OK)
  {
    Error_Handler();
  }
  pADCTriggerCfg.UpdateSource = HRTIM_ADCTRIGGERUPDATE_TIMER_C;
  pADCTriggerCfg.Trigger = HRTIM_ADCTRIGGEREVENT13_TIMERC_PERIOD;
  if (HAL_HRTIM_ADCTriggerConfig(&hhrtim1, HRTIM_ADCTRIGGER_1, &pADCTriggerCfg) != HAL_OK)
  {
    Error_Handler();
  }
  if (HAL_HRTIM_ADCPostScalerConfig(&hhrtim1, HRTIM_ADCTRIGGER_1, 0x0) != HAL_OK)
  {
    Error_Handler();
  }
  pADCTriggerCfg.Trigger = HRTIM_ADCTRIGGEREVENT24_TIMERC_RESET;
  if (HAL_HRTIM_ADCTriggerConfig(&hhrtim1, HRTIM_ADCTRIGGER_2, &pADCTriggerCfg) != HAL_OK)
  {
    Error_Handler();
  }
  if (HAL_HRTIM_ADCPostScalerConfig(&hhrtim1, HRTIM_ADCTRIGGER_2, 0x0) != HAL_OK)
  {
    Error_Handler();
  }
  pTimeBaseCfg.Period = 34000;
  pTimeBaseCfg.RepetitionCounter = 0x00;
  pTimeBaseCfg.PrescalerRatio = HRTIM_PRESCALERRATIO_MUL16;
  pTimeBaseCfg.Mode = HRTIM_MODE_CONTINUOUS;
  if (HAL_HRTIM_TimeBaseConfig(&hhrtim1, HRTIM_TIMERINDEX_TIMER_C, &pTimeBaseCfg) != HAL_OK)
  {
    Error_Handler();
  }
  pTimerCtl.UpDownMode = HRTIM_TIMERUPDOWNMODE_UPDOWN;
  pTimerCtl.GreaterCMP1 = HRTIM_TIMERGTCMP1_EQUAL;
  pTimerCtl.DualChannelDacEnable = HRTIM_TIMER_DCDE_DISABLED;
  if (HAL_HRTIM_WaveformTimerControl(&hhrtim1, HRTIM_TIMERINDEX_TIMER_C, &pTimerCtl) != HAL_OK)
  {
    Error_Handler();
  }
  if (HAL_HRTIM_RollOverModeConfig(&hhrtim1, HRTIM_TIMERINDEX_TIMER_C, HRTIM_TIM_FEROM_BOTH|HRTIM_TIM_BMROM_BOTH
                              |HRTIM_TIM_ADROM_VALLEY|HRTIM_TIM_OUTROM_BOTH
                              |HRTIM_TIM_ROM_VALLEY) != HAL_OK)
  {
    Error_Handler();
  }
  pTimerCfg.InterruptRequests = HRTIM_TIM_IT_NONE;
  pTimerCfg.DMARequests = HRTIM_TIM_DMA_NONE;
  pTimerCfg.DMASrcAddress = 0x0000;
  pTimerCfg.DMADstAddress = 0x0000;
  pTimerCfg.DMASize = 0x1;
  pTimerCfg.HalfModeEnable = HRTIM_HALFMODE_DISABLED;
  pTimerCfg.InterleavedMode = HRTIM_INTERLEAVED_MODE_DISABLED;
  pTimerCfg.StartOnSync = HRTIM_SYNCSTART_DISABLED;
  pTimerCfg.ResetOnSync = HRTIM_SYNCRESET_DISABLED;
  pTimerCfg.DACSynchro = HRTIM_DACSYNC_NONE;
  pTimerCfg.PreloadEnable = HRTIM_PRELOAD_ENABLED;
  pTimerCfg.UpdateGating = HRTIM_UPDATEGATING_INDEPENDENT;
  pTimerCfg.BurstMode = HRTIM_TIMERBURSTMODE_MAINTAINCLOCK;
  pTimerCfg.RepetitionUpdate = HRTIM_UPDATEONREPETITION_DISABLED;
  pTimerCfg.PushPull = HRTIM_TIMPUSHPULLMODE_DISABLED;
  pTimerCfg.FaultEnable = HRTIM_TIMFAULTENABLE_NONE;
  pTimerCfg.FaultLock = HRTIM_TIMFAULTLOCK_READWRITE;
  pTimerCfg.DeadTimeInsertion = HRTIM_TIMDEADTIMEINSERTION_ENABLED;
  pTimerCfg.DelayedProtectionMode = HRTIM_TIMER_A_B_C_DELAYEDPROTECTION_DISABLED;
  pTimerCfg.UpdateTrigger = HRTIM_TIMUPDATETRIGGER_NONE;
  pTimerCfg.ResetTrigger = HRTIM_TIMRESETTRIGGER_NONE;
  pTimerCfg.ResetUpdate = HRTIM_TIMUPDATEONRESET_ENABLED;
  pTimerCfg.ReSyncUpdate = HRTIM_TIMERESYNC_UPDATE_UNCONDITIONAL;
  if (HAL_HRTIM_WaveformTimerConfig(&hhrtim1, HRTIM_TIMERINDEX_TIMER_C, &pTimerCfg) != HAL_OK)
  {
    Error_Handler();
  }
  pTimerCfg.DelayedProtectionMode = HRTIM_TIMER_D_E_DELAYEDPROTECTION_DISABLED;
  if (HAL_HRTIM_WaveformTimerConfig(&hhrtim1, HRTIM_TIMERINDEX_TIMER_D, &pTimerCfg) != HAL_OK)
  {
    Error_Handler();
  }
  pTimerCfg.DelayedProtectionMode = HRTIM_TIMER_F_DELAYEDPROTECTION_DISABLED;
  if (HAL_HRTIM_WaveformTimerConfig(&hhrtim1, HRTIM_TIMERINDEX_TIMER_F, &pTimerCfg) != HAL_OK)
  {
    Error_Handler();
  }
  pCompareCfg.CompareValue = 17000;
  if (HAL_HRTIM_WaveformCompareConfig(&hhrtim1, HRTIM_TIMERINDEX_TIMER_C, HRTIM_COMPAREUNIT_1, &pCompareCfg) != HAL_OK)
  {
    Error_Handler();
  }
  pDeadTimeCfg.Prescaler = HRTIM_TIMDEADTIME_PRESCALERRATIO_MUL4;
  pDeadTimeCfg.RisingValue = 500;
  pDeadTimeCfg.RisingSign = HRTIM_TIMDEADTIME_RISINGSIGN_POSITIVE;
  pDeadTimeCfg.RisingLock = HRTIM_TIMDEADTIME_RISINGLOCK_WRITE;
  pDeadTimeCfg.RisingSignLock = HRTIM_TIMDEADTIME_RISINGSIGNLOCK_READONLY;
  pDeadTimeCfg.FallingValue = 500;
  pDeadTimeCfg.FallingSign = HRTIM_TIMDEADTIME_FALLINGSIGN_POSITIVE;
  pDeadTimeCfg.FallingLock = HRTIM_TIMDEADTIME_FALLINGLOCK_WRITE;
  pDeadTimeCfg.FallingSignLock = HRTIM_TIMDEADTIME_FALLINGSIGNLOCK_READONLY;
  if (HAL_HRTIM_DeadTimeConfig(&hhrtim1, HRTIM_TIMERINDEX_TIMER_C, &pDeadTimeCfg) != HAL_OK)
  {
    Error_Handler();
  }
  if (HAL_HRTIM_DeadTimeConfig(&hhrtim1, HRTIM_TIMERINDEX_TIMER_D, &pDeadTimeCfg) != HAL_OK)
  {
    Error_Handler();
  }
  if (HAL_HRTIM_DeadTimeConfig(&hhrtim1, HRTIM_TIMERINDEX_TIMER_F, &pDeadTimeCfg) != HAL_OK)
  {
    Error_Handler();
  }
  pOutputCfg.Polarity = HRTIM_OUTPUTPOLARITY_HIGH;
  pOutputCfg.SetSource = HRTIM_OUTPUTSET_TIMCMP1;
  pOutputCfg.ResetSource = HRTIM_OUTPUTRESET_NONE;
  pOutputCfg.IdleMode = HRTIM_OUTPUTIDLEMODE_NONE;
  pOutputCfg.IdleLevel = HRTIM_OUTPUTIDLELEVEL_INACTIVE;
  pOutputCfg.FaultLevel = HRTIM_OUTPUTFAULTLEVEL_NONE;
  pOutputCfg.ChopperModeEnable = HRTIM_OUTPUTCHOPPERMODE_DISABLED;
  pOutputCfg.BurstModeEntryDelayed = HRTIM_OUTPUTBURSTMODEENTRY_REGULAR;
  if (HAL_HRTIM_WaveformOutputConfig(&hhrtim1, HRTIM_TIMERINDEX_TIMER_C, HRTIM_OUTPUT_TC1, &pOutputCfg) != HAL_OK)
  {
    Error_Handler();
  }
  if (HAL_HRTIM_WaveformOutputConfig(&hhrtim1, HRTIM_TIMERINDEX_TIMER_D, HRTIM_OUTPUT_TD1, &pOutputCfg) != HAL_OK)
  {
    Error_Handler();
  }
  if (HAL_HRTIM_WaveformOutputConfig(&hhrtim1, HRTIM_TIMERINDEX_TIMER_F, HRTIM_OUTPUT_TF1, &pOutputCfg) != HAL_OK)
  {
    Error_Handler();
  }
  pOutputCfg.SetSource = HRTIM_OUTPUTSET_NONE;
  if (HAL_HRTIM_WaveformOutputConfig(&hhrtim1, HRTIM_TIMERINDEX_TIMER_C, HRTIM_OUTPUT_TC2, &pOutputCfg) != HAL_OK)
  {
    Error_Handler();
  }
  if (HAL_HRTIM_WaveformOutputConfig(&hhrtim1, HRTIM_TIMERINDEX_TIMER_D, HRTIM_OUTPUT_TD2, &pOutputCfg) != HAL_OK)
  {
    Error_Handler();
  }
  if (HAL_HRTIM_WaveformOutputConfig(&hhrtim1, HRTIM_TIMERINDEX_TIMER_F, HRTIM_OUTPUT_TF2, &pOutputCfg) != HAL_OK)
  {
    Error_Handler();
  }
  if (HAL_HRTIM_TimeBaseConfig(&hhrtim1, HRTIM_TIMERINDEX_TIMER_D, &pTimeBaseCfg) != HAL_OK)
  {
    Error_Handler();
  }
  if (HAL_HRTIM_WaveformTimerControl(&hhrtim1, HRTIM_TIMERINDEX_TIMER_D, &pTimerCtl) != HAL_OK)
  {
    Error_Handler();
  }
  if (HAL_HRTIM_RollOverModeConfig(&hhrtim1, HRTIM_TIMERINDEX_TIMER_D, HRTIM_TIM_FEROM_BOTH|HRTIM_TIM_BMROM_BOTH
                              |HRTIM_TIM_ADROM_VALLEY|HRTIM_TIM_OUTROM_BOTH
                              |HRTIM_TIM_ROM_VALLEY) != HAL_OK)
  {
    Error_Handler();
  }
  if (HAL_HRTIM_WaveformCompareConfig(&hhrtim1, HRTIM_TIMERINDEX_TIMER_D, HRTIM_COMPAREUNIT_1, &pCompareCfg) != HAL_OK)
  {
    Error_Handler();
  }
  if (HAL_HRTIM_TimeBaseConfig(&hhrtim1, HRTIM_TIMERINDEX_TIMER_F, &pTimeBaseCfg) != HAL_OK)
  {
    Error_Handler();
  }
  if (HAL_HRTIM_WaveformTimerControl(&hhrtim1, HRTIM_TIMERINDEX_TIMER_F, &pTimerCtl) != HAL_OK)
  {
    Error_Handler();
  }
  if (HAL_HRTIM_RollOverModeConfig(&hhrtim1, HRTIM_TIMERINDEX_TIMER_F, HRTIM_TIM_FEROM_BOTH|HRTIM_TIM_BMROM_BOTH
                              |HRTIM_TIM_ADROM_VALLEY|HRTIM_TIM_OUTROM_BOTH
                              |HRTIM_TIM_ROM_VALLEY) != HAL_OK)
  {
    Error_Handler();
  }
  if (HAL_HRTIM_WaveformCompareConfig(&hhrtim1, HRTIM_TIMERINDEX_TIMER_F, HRTIM_COMPAREUNIT_1, &pCompareCfg) != HAL_OK)
  {
    Error_Handler();
  }
  HAL_HRTIM_MspPostInit(&hhrtim1);

}

static void MX_TIM2_Init(void)
{

  TIM_HallSensor_InitTypeDef sConfig = {0};
  TIM_MasterConfigTypeDef sMasterConfig = {0};

  htim2.Instance = TIM2;
  htim2.Init.Prescaler = 16;
  htim2.Init.CounterMode = TIM_COUNTERMODE_UP;
  htim2.Init.Period = 999999;
  htim2.Init.ClockDivision = TIM_CLOCKDIVISION_DIV1;
  htim2.Init.AutoReloadPreload = TIM_AUTORELOAD_PRELOAD_DISABLE;
  sConfig.IC1Polarity = TIM_ICPOLARITY_RISING;
  sConfig.IC1Prescaler = TIM_ICPSC_DIV1;
  sConfig.IC1Filter = 3;
  sConfig.Commutation_Delay = 0;
  if (HAL_TIMEx_HallSensor_Init(&htim2, &sConfig) != HAL_OK)
  {
    Error_Handler();
  }
  sMasterConfig.MasterOutputTrigger = TIM_TRGO_OC2REF;
  sMasterConfig.MasterSlaveMode = TIM_MASTERSLAVEMODE_DISABLE;
  if (HAL_TIMEx_MasterConfigSynchronization(&htim2, &sMasterConfig) != HAL_OK)
  {
    Error_Handler();
  }

}

static void MX_USART3_Init(void)
{

  husart3.Instance = USART3;
  husart3.Init.BaudRate = 115200;
  husart3.Init.WordLength = USART_WORDLENGTH_8B;
  husart3.Init.StopBits = USART_STOPBITS_1;
  husart3.Init.Parity = USART_PARITY_NONE;
  husart3.Init.Mode = USART_MODE_TX_RX;
  husart3.Init.CLKPolarity = USART_POLARITY_LOW;
  husart3.Init.CLKPhase = USART_PHASE_1EDGE;
  husart3.Init.CLKLastBit = USART_LASTBIT_DISABLE;
  husart3.Init.ClockPrescaler = USART_PRESCALER_DIV1;
  husart3.SlaveMode = USART_SLAVEMODE_DISABLE;
  if (HAL_USART_Init(&husart3) != HAL_OK)
  {
    Error_Handler();
  }
  if (HAL_USARTEx_SetTxFifoThreshold(&husart3, USART_TXFIFO_THRESHOLD_1_8) != HAL_OK)
  {
    Error_Handler();
  }
  if (HAL_USARTEx_SetRxFifoThreshold(&husart3, USART_RXFIFO_THRESHOLD_1_8) != HAL_OK)
  {
    Error_Handler();
  }
  if (HAL_USARTEx_DisableFifoMode(&husart3) != HAL_OK)
  {
    Error_Handler();
  }

}

static void MX_USB_PCD_Init(void)
{

  hpcd_USB_FS.Instance = USB;
  hpcd_USB_FS.Init.dev_endpoints = 8;
  hpcd_USB_FS.Init.speed = PCD_SPEED_FULL;
  hpcd_USB_FS.Init.phy_itface = PCD_PHY_EMBEDDED;
  hpcd_USB_FS.Init.Sof_enable = DISABLE;
  hpcd_USB_FS.Init.low_power_enable = DISABLE;
  hpcd_USB_FS.Init.lpm_enable = DISABLE;
  hpcd_USB_FS.Init.battery_charging_enable = DISABLE;
  if (HAL_PCD_Init(&hpcd_USB_FS) != HAL_OK)
  {
    Error_Handler();
  }

}

static void MX_GPIO_Init(void)
{
  GPIO_InitTypeDef GPIO_InitStruct = {0};

  /* GPIO Ports Clock Enable */
  __HAL_RCC_GPIOF_CLK_ENABLE();
  __HAL_RCC_GPIOC_CLK_ENABLE();
  __HAL_RCC_GPIOA_CLK_ENABLE();
  __HAL_RCC_GPIOB_CLK_ENABLE();

  /*Configure GPIO pin Output Level */
  HAL_GPIO_WritePin(DP_pullup_GPIO_Port, DP_pullup_Pin, GPIO_PIN_RESET);

  /*Configure GPIO pin : VBUS_sense_Pin */
  GPIO_InitStruct.Pin = VBUS_sense_Pin;
  GPIO_InitStruct.Mode = GPIO_MODE_INPUT;
  GPIO_InitStruct.Pull = GPIO_NOPULL;
  HAL_GPIO_Init(VBUS_sense_GPIO_Port, &GPIO_InitStruct);

  /*Configure GPIO pin : DP_pullup_Pin */
  GPIO_InitStruct.Pin = DP_pullup_Pin;
  GPIO_InitStruct.Mode = GPIO_MODE_OUTPUT_PP;
  GPIO_InitStruct.Pull = GPIO_PULLDOWN;
  GPIO_InitStruct.Speed = GPIO_SPEED_FREQ_LOW;
  HAL_GPIO_Init(DP_pullup_GPIO_Port, &GPIO_InitStruct);

}

/* USER CODE BEGIN 4 */
/**
 * @brief ADC complete IRQ 후단에서 App fast loop를 실행한다.
 *
 * @note ADC3 IRQ context에서만 호출한다. App과 하위 module이 runtime/fault 상태를 소유하며
 *       main.c는 측정 결과의 별도 복사본을 만들지 않는다.
 */
static void app_fast_loop_update(void)
{
    if ((app.mode == APP_MODE_CURRENT) || (app.mode == APP_MODE_SPEED)) {
        (void)app_motor_current_fast_loop_drive_fast(&app);
    } else {
        app_fast_loop_output_t output;

        (void)app_motor_fast_loop_fast(&app, &output);
    }
}

static inline void app_adc_irq_record_cycles(uint32_t start_cycles)
{
#if defined(DEBUG)
    const uint32_t elapsed_cycles =
        cycle_counter_driver_read() - start_cycles;

    adc_irq_total_cycles = elapsed_cycles;
    if (elapsed_cycles > adc_irq_total_cycles_max) {
        adc_irq_total_cycles_max = elapsed_cycles;
    }
    if (elapsed_cycles >= APP_FAST_LOOP_DEADLINE_CYCLES) {
        ++adc_irq_deadline_miss_count;
    }
#else
    (void)start_cycles;
#endif
}

void app_speed_scheduler_tick(void)
{
    if (!app.is_initialized) {
        return;
    }

    app_drive_scheduler_tick(&app);
}

void app_adc_irq_epilogue(void)
{
    if (!adc_fast_loop_pending) {
        return;
    }

    /* Pending을 먼저 소비해 같은 ADC 묶음을 두 IRQ 후단에서 중복 실행하지 않는다. */
    adc_fast_loop_pending = false;

    app_fast_loop_update();

    app_adc_irq_record_cycles(adc_irq_start_cycles);
}

static void app_adc_process_injected_complete(ADC_HandleTypeDef *hadc)
{
    bool is_complete = false;
    adc_driver_status_t status = adc_driver_handle_injected_complete(
        &adc_driver,
        hadc,
        &is_complete
    );

    if (status != ADC_DRIVER_STATUS_OK) {
        (void)app_handle_adc_error(&app, status);
        adc_fast_loop_pending = false;
        return;
    }

    if (is_complete) {
        /* 실제 계산은 HAL이 현재 ADC의 JEOC/JEOS를 지운 뒤 IRQ 후단에서 실행한다. */
        adc_fast_loop_pending = true;
    }
}

bool app_adc_injected_irq_handle_fast(ADC_HandleTypeDef *hadc)
{
#if defined(DEBUG)
    const uint32_t irq_start_cycles = cycle_counter_driver_read();
#endif

    if ((hadc == NULL) ||
        (hadc != adc_driver.config.injected_completion_adc) ||
        (__HAL_ADC_GET_FLAG(hadc, ADC_FLAG_JEOC) == RESET) ||
        (__HAL_ADC_GET_IT_SOURCE(hadc, ADC_IT_JEOC) == RESET)) {
#if defined(DEBUG)
        adc_irq_start_cycles = irq_start_cycles;
#endif
        return false;
    }

    const adc_driver_status_t status =
        adc_driver_handle_injected_complete_fast(&adc_driver);
    if (status != ADC_DRIVER_STATUS_OK) {
        (void)app_handle_adc_error(&app, status);
        adc_fast_loop_pending = false;
        __HAL_ADC_CLEAR_FLAG(hadc, ADC_FLAG_JEOC | ADC_FLAG_JEOS);
        return true;
    }

    __HAL_ADC_CLEAR_FLAG(hadc, ADC_FLAG_JEOC | ADC_FLAG_JEOS);
    app_fast_loop_update();
#if defined(DEBUG)
    app_adc_irq_record_cycles(irq_start_cycles);
#endif
    return true;
}

void HAL_ADCEx_InjectedConvCpltCallback(ADC_HandleTypeDef *hadc)
{
    app_adc_process_injected_complete(hadc);
}

void HAL_ADC_ErrorCallback(ADC_HandleTypeDef *hadc)
{
    if ((hadc != &hadc1) && (hadc != &hadc2) && (hadc != &hadc3)) {
        return;
    }

    (void)app_handle_adc_error(
        &app,
        ADC_DRIVER_STATUS_HAL_ERROR
    );
    adc_fast_loop_pending = false;
}

void HAL_TIM_IC_CaptureCallback(TIM_HandleTypeDef *htim)
{
    if (htim != &htim2) {
        return;
    }

    (void)hall_driver_handle_capture(
        &hall_driver,
        htim
    );
}

void HAL_TIM_PeriodElapsedCallback(TIM_HandleTypeDef *htim)
{
    if (htim != &htim2) {
        return;
    }

    (void)hall_driver_handle_timeout(
        &hall_driver,
        htim
    );
}

void HAL_FDCAN_RxFifo0Callback(
    FDCAN_HandleTypeDef *hfdcan,
    uint32_t interrupt_flags
)
{
    fdcan_driver_handle_rx_fifo0(
        &fdcan_driver,
        hfdcan,
        interrupt_flags
    );
}

void HAL_FDCAN_ErrorCallback(FDCAN_HandleTypeDef *hfdcan)
{
    fdcan_driver_handle_error(&fdcan_driver, hfdcan);
}
/* USER CODE END 4 */

void Error_Handler(void)
{
  __disable_irq();
  while (1)
  {
  }
}
